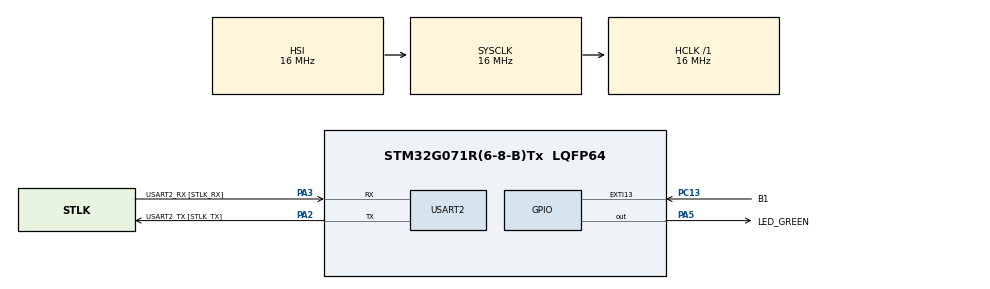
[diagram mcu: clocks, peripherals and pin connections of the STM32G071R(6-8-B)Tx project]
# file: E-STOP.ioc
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Mcu.Family=STM32G0
Mcu.Name=STM32G071R(6-8-B)Tx
Mcu.Package=LQFP64
NVIC.EXTI4_15_IRQn=true\:0\:0\:false\:false\:true\:true\:true\:true
NVIC.USART2_IRQn=true\:0\:0\:false\:false\:true\:true\:true\:true
PA13.GPIO_Label=TMS
PA13.Mode=Serial_Wire
PA13.Signal=SYS_SWDIO
PA14-BOOT0.GPIO_Label=TCK
PA14-BOOT0.Mode=Serial_Wire
PA14-BOOT0.Signal=SYS_SWCLK
PA2.GPIO_Label=USART2_TX [STLK_TX]
PA2.GPIO_PuPd=GPIO_PULLUP
PA2.Mode=Asynchronous
PA2.Signal=USART2_TX
PA3.GPIO_Label=USART2_RX [STLK_RX]
PA3.GPIO_PuPd=GPIO_PULLUP
PA3.Mode=Asynchronous
PA3.Signal=USART2_RX
PA5.GPIO_Label=LED_GREEN
PA5.GPIO_Speed=GPIO_SPEED_FREQ_HIGH
PA5.Signal=GPIO_Output
PC13.GPIO_Label=B1
PC13.GPIO_ModeDefaultEXTI=GPIO_MODE_IT_RISING_FALLING
PC13.Signal=GPXTI13
PC14-OSC32_IN\ (PC14).Mode=LSE-External-Oscillator
PC14-OSC32_IN\ (PC14).Signal=RCC_OSC32_IN
PC15-OSC32_OUT\ (PC15).Mode=LSE-External-Oscillator
PC15-OSC32_OUT\ (PC15).Signal=RCC_OSC32_OUT
PF0-OSC_IN\ (PF0).GPIO_Label=MCO
PF0-OSC_IN\ (PF0).Mode=HSE-External-Clock-Source
PF0-OSC_IN\ (PF0).Signal=RCC_OSC_IN
ProjectManager.HeapSize=0x200
ProjectManager.StackSize=0x400
ProjectManager.TargetToolchain=STM32CubeIDE
RCC.AHBFreq_Value=16000000
RCC.CortexFreq_Value=16000000
RCC.EXTERNAL_CLOCK_VALUE=12288000
RCC.HCLKFreq_Value=16000000
RCC.HSE_VALUE=8000000
RCC.HSI_VALUE=16000000
RCC.SYSCLKFreq_VALUE=16000000
RCC.VCOOutputFreq_Value=128000000
USART2.VirtualMode-Asynchronous=VM_ASYNC
board=NUCLEO-G071RB

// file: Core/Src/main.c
/* USER CODE BEGIN Header */
/**
  ******************************************************************************
  * @file           : main.c
  * @brief          : Main program body
  ******************************************************************************
  * @attention
  *
  * Copyright (c) 2026 STMicroelectronics.
  * All rights reserved.
  *
  * This software is licensed under terms that can be found in the LICENSE file
  * in the root directory of this software component.
  * If no LICENSE file comes with this software, it is provided AS-IS.
  *
  ******************************************************************************
  */
/* USER CODE END Header */
#include "main.h"

/* USER CODE BEGIN Includes */
#include <string.h>
/* USER CODE END Includes */

/* USER CODE BEGIN PD */
#define B1_DEBOUNCE_MS   20U   /* Debounce time for the user button */
#define RX_LINE_MAX      16U   /* Longest command line accepted from the PC */
#define RX_CMD_NONE      0U
#define RX_CMD_ESTOP     1U
#define RX_CMD_RESET     2U
/* USER CODE END PD */

UART_HandleTypeDef huart2;

/* USER CODE BEGIN PV */
/* Set by the EXTI callbacks, consumed by the main loop */
static volatile uint8_t  b1_event = 0;       /* 1 = an edge was detected on B1 */
static volatile uint32_t b1_event_tick = 0;  /* Tick of the most recent edge   */

/* Idle (not pressed) level of B1, sampled once at startup so the code
   works regardless of the button polarity on the board */
static GPIO_PinState b1_idle_level = GPIO_PIN_SET;

/* Last confirmed button state: 1 = pressed, 0 = released */
static uint8_t b1_pressed_last = 0;

/* Latched e-stop state: 1 = e-stop active, 0 = normal operation */
static uint8_t estop_active = 0;

/* UART receive: one byte at a time, a command line ends with '\n' */
static uint8_t rx_byte;
static char rx_line[RX_LINE_MAX];
static uint8_t rx_len = 0;
static volatile uint8_t rx_cmd = RX_CMD_NONE;   /* Set by the RX callback, consumed by the main loop */
/* USER CODE END PV */

void SystemClock_Config(void);
static void MX_GPIO_Init(void);
static void MX_USART2_UART_Init(void);

int main(void)
{

  /* MCU Configuration--------------------------------------------------------*/

  /* Reset of all peripherals, Initializes the Flash interface and the Systick. */
  HAL_Init();

  /* Configure the system clock */
  SystemClock_Config();

  /* Initialize all configured peripherals */
  MX_GPIO_Init();
  MX_USART2_UART_Init();
  /* USER CODE BEGIN 2 */
  b1_idle_level = HAL_GPIO_ReadPin(B1_GPIO_Port, B1_Pin);
  b1_pressed_last = 0;
  HAL_GPIO_WritePin(LED_GREEN_GPIO_Port, LED_GREEN_Pin, GPIO_PIN_RESET);
  HAL_UART_Receive_IT(&huart2, &rx_byte, 1);

  /* USER CODE END 2 */

  /* Infinite loop */
  while (1)
  {

    /* USER CODE BEGIN 3 */
	  /* Handle a command sent by the PC (E-STOP / RESET from the GUI or from a collision stop) */
	  	  if (rx_cmd != RX_CMD_NONE)
	  	  {
	  	    uint8_t cmd;

	  	    __disable_irq();
	  	    cmd = rx_cmd;
	  	    rx_cmd = RX_CMD_NONE;
	  	    __enable_irq();

	  	    /* Only set the state, never answer: the PC already knows it */
	  	    estop_active = (cmd == RX_CMD_ESTOP) ? 1U : 0U;
	  	    HAL_GPIO_WritePin(LED_GREEN_GPIO_Port, LED_GREEN_Pin,
	  	                      estop_active ? GPIO_PIN_SET : GPIO_PIN_RESET);
	  	  }

	  /* Handle the button event after the debounce time has elapsed */
	      if (b1_event && ((HAL_GetTick() - b1_event_tick) >= B1_DEBOUNCE_MS))
	      {
	        b1_event = 0;

	        uint8_t pressed_now =
	            (HAL_GPIO_ReadPin(B1_GPIO_Port, B1_Pin) != b1_idle_level) ? 1U : 0U;

	        if (pressed_now != b1_pressed_last)
	        {
	          b1_pressed_last = pressed_now;

	          /* One full press (press + release) toggles the e-stop state */
	          if (!pressed_now)
	          {
	            estop_active = !estop_active;

	            if (estop_active)
	            {
	              HAL_UART_Transmit(&huart2, (uint8_t *)"ESTOP\n", 6, 100);
	              HAL_GPIO_WritePin(LED_GREEN_GPIO_Port, LED_GREEN_Pin, GPIO_PIN_SET);   /* LED stays on while stopped */
	            }
	            else
	            {
	              HAL_UART_Transmit(&huart2, (uint8_t *)"RESET\n", 6, 100);
	              HAL_GPIO_WritePin(LED_GREEN_GPIO_Port, LED_GREEN_Pin, GPIO_PIN_RESET); /* LED off in normal operation */
	            }
	          }
	        }
	      }
  }
  /* USER CODE END 3 */
}

void SystemClock_Config(void)
{
  RCC_OscInitTypeDef RCC_OscInitStruct = {0};
  RCC_ClkInitTypeDef RCC_ClkInitStruct = {0};

  /** Configure the main internal regulator output voltage
  */
  HAL_PWREx_ControlVoltageScaling(PWR_REGULATOR_VOLTAGE_SCALE1);

  /** Initializes the RCC Oscillators according to the specified parameters
  * in the RCC_OscInitTypeDef structure.
  */
  RCC_OscInitStruct.OscillatorType = RCC_OSCILLATORTYPE_HSI;
  RCC_OscInitStruct.HSIState = RCC_HSI_ON;
  RCC_OscInitStruct.HSIDiv = RCC_HSI_DIV1;
  RCC_OscInitStruct.HSICalibrationValue = RCC_HSICALIBRATION_DEFAULT;
  RCC_OscInitStruct.PLL.PLLState = RCC_PLL_NONE;
  if (HAL_RCC_OscConfig(&RCC_OscInitStruct) != HAL_OK)
  {
    Error_Handler();
  }

  /** Initializes the CPU, AHB and APB buses clocks
  */
  RCC_ClkInitStruct.ClockType = RCC_CLOCKTYPE_HCLK|RCC_CLOCKTYPE_SYSCLK
                              |RCC_CLOCKTYPE_PCLK1;
  RCC_ClkInitStruct.SYSCLKSource = RCC_SYSCLKSOURCE_HSI;
  RCC_ClkInitStruct.AHBCLKDivider = RCC_SYSCLK_DIV1;
  RCC_ClkInitStruct.APB1CLKDivider = RCC_HCLK_DIV1;

  if (HAL_RCC_ClockConfig(&RCC_ClkInitStruct, FLASH_LATENCY_0) != HAL_OK)
  {
    Error_Handler();
  }
}

static void MX_USART2_UART_Init(void)
{

  huart2.Instance = USART2;
  huart2.Init.BaudRate = 115200;
  huart2.Init.WordLength = UART_WORDLENGTH_8B;
  huart2.Init.StopBits = UART_STOPBITS_1;
  huart2.Init.Parity = UART_PARITY_NONE;
  huart2.Init.Mode = UART_MODE_TX_RX;
  huart2.Init.HwFlowCtl = UART_HWCONTROL_NONE;
  huart2.Init.OverSampling = UART_OVERSAMPLING_16;
  huart2.Init.OneBitSampling = UART_ONE_BIT_SAMPLE_DISABLE;
  huart2.Init.ClockPrescaler = UART_PRESCALER_DIV1;
  huart2.AdvancedInit.AdvFeatureInit = UART_ADVFEATURE_NO_INIT;
  if (HAL_UART_Init(&huart2) != HAL_OK)
  {
    Error_Handler();
  }
  if (HAL_UARTEx_SetTxFifoThreshold(&huart2, UART_TXFIFO_THRESHOLD_1_8) != HAL_OK)
  {
    Error_Handler();
  }
  if (HAL_UARTEx_SetRxFifoThreshold(&huart2, UART_RXFIFO_THRESHOLD_1_8) != HAL_OK)
  {
    Error_Handler();
  }
  if (HAL_UARTEx_DisableFifoMode(&huart2) != HAL_OK)
  {
    Error_Handler();
  }

}

static void MX_GPIO_Init(void)
{
  GPIO_InitTypeDef GPIO_InitStruct = {0};

  /* GPIO Ports Clock Enable */
  __HAL_RCC_GPIOC_CLK_ENABLE();
  __HAL_RCC_GPIOF_CLK_ENABLE();
  __HAL_RCC_GPIOA_CLK_ENABLE();

  /*Configure GPIO pin Output Level */
  HAL_GPIO_WritePin(LED_GREEN_GPIO_Port, LED_GREEN_Pin, GPIO_PIN_RESET);

  /*Configure GPIO pin : B1_Pin */
  GPIO_InitStruct.Pin = B1_Pin;
  GPIO_InitStruct.Mode = GPIO_MODE_IT_RISING_FALLING;
  GPIO_InitStruct.Pull = GPIO_NOPULL;
  HAL_GPIO_Init(B1_GPIO_Port, &GPIO_InitStruct);

  /*Configure GPIO pin : LED_GREEN_Pin */
  GPIO_InitStruct.Pin = LED_GREEN_Pin;
  GPIO_InitStruct.Mode = GPIO_MODE_OUTPUT_PP;
  GPIO_InitStruct.Pull = GPIO_NOPULL;
  GPIO_InitStruct.Speed = GPIO_SPEED_FREQ_HIGH;
  HAL_GPIO_Init(LED_GREEN_GPIO_Port, &GPIO_InitStruct);

  /* EXTI interrupt init*/
  HAL_NVIC_SetPriority(EXTI4_15_IRQn, 0, 0);
  HAL_NVIC_EnableIRQ(EXTI4_15_IRQn);

}

/* USER CODE BEGIN 4 */
/**
  * @brief  EXTI rising edge callback. Only flags the event, no UART in the ISR.
  * @param  GPIO_Pin: pin that triggered the interrupt
  * @retval None
  */
void HAL_GPIO_EXTI_Rising_Callback(uint16_t GPIO_Pin)
{
  if (GPIO_Pin == B1_Pin)
  {
    b1_event_tick = HAL_GetTick();
    b1_event = 1;
  }
}

/**
  * @brief  EXTI falling edge callback. Only flags the event, no UART in the ISR.
  * @param  GPIO_Pin: pin that triggered the interrupt
  * @retval None
  */
void HAL_GPIO_EXTI_Falling_Callback(uint16_t GPIO_Pin)
{
  if (GPIO_Pin == B1_Pin)
  {
    b1_event_tick = HAL_GetTick();
    b1_event = 1;
  }
}

/**
  * @brief  UART receive complete callback. Collects one line, then flags the command.
  * @param  huart: UART handle
  * @retval None
  */
void HAL_UART_RxCpltCallback(UART_HandleTypeDef *huart)
{
  if (huart->Instance == USART2)
  {
    if (rx_byte == '\n')
    {
      rx_line[rx_len] = '\0';
      if (strcmp(rx_line, "ESTOP") == 0)
      {
        rx_cmd = RX_CMD_ESTOP;
      }
      else if (strcmp(rx_line, "RESET") == 0)
      {
        rx_cmd = RX_CMD_RESET;
      }
      rx_len = 0;
    }
    else if (rx_byte != '\r')
    {
      if (rx_len < (RX_LINE_MAX - 1U))
      {
        rx_line[rx_len++] = (char)rx_byte;
      }
      else
      {
        rx_len = 0;   /* Line too long: drop it */
      }
    }
    HAL_UART_Receive_IT(&huart2, &rx_byte, 1);
  }
}

/**
  * @brief  UART error callback (e.g. overrun). Restarts the reception.
  * @param  huart: UART handle
  * @retval None
  */
void HAL_UART_ErrorCallback(UART_HandleTypeDef *huart)
{
  if (huart->Instance == USART2)
  {
    HAL_UART_Receive_IT(&huart2, &rx_byte, 1);
  }
}
/* USER CODE END 4 */

void Error_Handler(void)
{
  __disable_irq();
  while (1)
  {
  }
}
